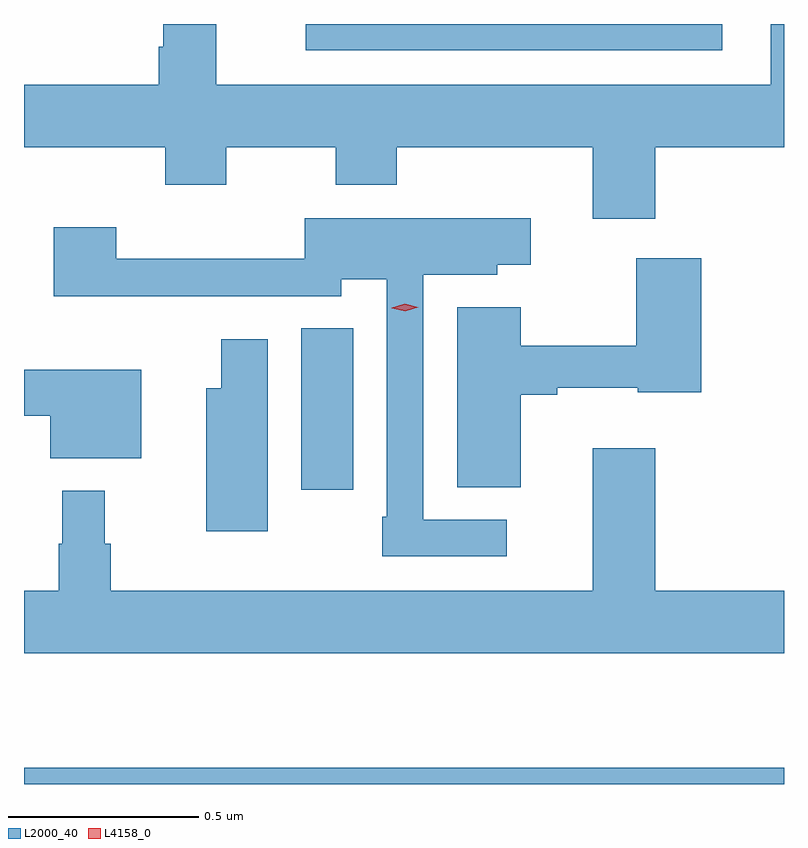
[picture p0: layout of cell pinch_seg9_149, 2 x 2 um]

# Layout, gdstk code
import gdstk
lib = gdstk.Library(unit=1e-6, precision=1e-09)
def R(c, l, rs):  # rectangles x0, y0, x1, y1
    for r in rs: c.add(gdstk.rectangle(r[:2], r[2:], *l))
def P(c, l, *ps):  # polygons
    for p in ps: c.add(gdstk.Polygon(p, *l))
L2000_40 = (2000, 40)
L4158_0 = (4158, 0)

pinch_seg9_149 = lib.new_cell('pinch_seg9_149')
R(pinch_seg9_149, L2000_40, [(643.031,1220.052,645.031,1220.095), (643.76,1220.826,643.897,1221.251), (643.772,1221.983,644.868,1222.052)])
P(pinch_seg9_149, L2000_40, [(644.692,1221.728),(645.031,1221.728),(645.031,1222.052),(644.996,1222.052),(644.996,1221.892),(643.537,1221.892),(643.537,1222.052),(643.397,1222.052),(643.397,1221.992),(643.385,1221.992),(643.385,1221.892),(643.031,1221.892),(643.031,1221.728),(643.403,1221.728),(643.403,1221.629),(643.563,1221.629),(643.563,1221.728),(643.852,1221.728),(643.852,1221.629),(644.012,1221.629),(644.012,1221.728),(644.528,1221.728),(644.528,1221.54),(644.692,1221.54)],
  [(644.302,1220.748),(644.082,1220.748),(644.082,1221.392),(644.277,1221.392),(644.277,1221.419),(644.365,1221.419),(644.365,1221.541),(643.77,1221.541),(643.77,1221.434),(643.274,1221.434),(643.274,1221.517),(643.109,1221.517),(643.109,1221.335),(643.357,1221.335),(643.357,1221.336),(643.866,1221.336),(643.866,1221.38),(643.986,1221.38),(643.986,1220.755),(643.974,1220.755),(643.974,1220.652),(644.302,1220.652)],
  [(644.338,1221.076),(644.434,1221.076),(644.434,1221.095),(644.646,1221.095),(644.646,1221.083),(644.813,1221.083),(644.813,1221.436),(644.642,1221.436),(644.642,1221.205),(644.338,1221.205),(644.338,1221.307),(644.171,1221.307),(644.171,1220.833),(644.338,1220.833)],
  [(643.672,1221.223),(643.55,1221.223),(643.55,1221.094),(643.511,1221.094),(643.511,1220.717),(643.672,1220.717)],
  [(643.339,1221.142),(643.031,1221.142),(643.031,1221.021),(643.1,1221.021),(643.1,1220.909),(643.339,1220.909)],
  [(645.031,1220.56),(644.692,1220.56),(644.692,1220.935),(644.528,1220.935),(644.528,1220.56),(643.259,1220.56),(643.259,1220.684),(643.244,1220.684),(643.244,1220.824),(643.131,1220.824),(643.131,1220.684),(643.123,1220.684),(643.123,1220.56),(643.031,1220.56),(643.031,1220.396),(645.031,1220.396)])
P(pinch_seg9_149, L4158_0, [(644.034,1221.296),(643.999,1221.304),(643.999,1221.305),(643.999,1221.305),(644.033,1221.316),(644.068,1221.307),(644.069,1221.307),(644.068,1221.306)])

lib.write_gds('pinch_seg9_149.gds')
